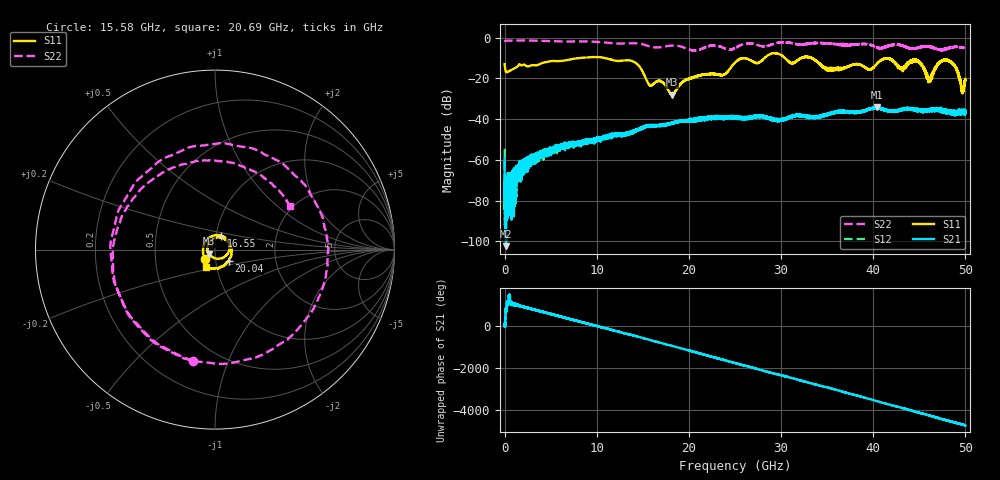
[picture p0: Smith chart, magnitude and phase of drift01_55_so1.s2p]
!Created with skrf (http://scikit-rf.org).
# Hz S RI R 50.0
!freq ReS11 ImS11 ReS21 ImS21 ReS12 ImS12 ReS22 ImS22
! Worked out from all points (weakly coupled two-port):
!   10001 points, 300 kHz to 50 GHz, reference 50 ohm
!   highest |S21| = -34.03 dB at 40.41 GHz (marker M1); lowest = -102.3 dB at 160.3 MHz (marker M2)
!   lowest |S11| = -27.9 dB at 18.14 GHz (marker M3), VSWR 1.08, Z = 46.8 - j2.13 ohm
!   |S11| at or under -10 dB: start of sweep to 8.043 GHz; 10.91 GHz to 25.9 GHz (14.99 GHz wide, 81.5 % of centre); 33.32 GHz to end of sweep (the widest 3 of 13)
!   |S22| runs from -6.4 to -1.4 dB; largest |S21 - S12| = 0.0042
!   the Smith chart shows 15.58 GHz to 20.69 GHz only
!   S11 on the Smith chart (normalised r, x): 15.58 GHz: 0.89, -0.09; 16.55 GHz: 1.06, +0.17; 20.04 GHz: 1.15, -0.15; 20.69 GHz: 0.89, -0.18
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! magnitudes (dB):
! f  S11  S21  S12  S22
! 300 kHz  -13.1  -59.4  -54.6  -2.1
! 160.3 MHz  -16.8  -102.3  -72.2  -1.4
! 3.08 GHz  -13.4  -57.6  -58.3  -1.4
! 8.335 GHz  -9.9  -50.8  -51.4  -1.8
! 13.88 GHz  -11.5  -46.5  -46.8  -2.7
! 15.58 GHz  -22.5  -43.4  -43.4  -4.0
! 16.55 GHz  -21.4  -43.1  -43.5  -4.7
! 16.67 GHz  -21.2  -43.1  -43.4  -4.8
! 18.14 GHz  -27.9  -42.1  -41.8  -3.9
! 20.04 GHz  -20.0  -40.7  -40.8  -5.9
! 20.69 GHz  -19.2  -40.1  -40.5  -6.3
! 25 GHz  -12.2  -39.3  -39.1  -5.1
! 33.34 GHz  -10.1  -38.6  -39.1  -2.7
! 35.23 GHz  -15.4  -37.5  -37.3  -3.0
! 40.41 GHz  -12.8  -34.0  -34.5  -4.8
! 41.67 GHz  -10.2  -35.8  -36.2  -4.1
! 43.07 GHz  -15.7  -35.0  -35.3  -3.6
! 44.8 GHz  -11.2  -35.3  -35.6  -4.9
! 46.11 GHz  -20.7  -35.3  -35.4  -4.4
! 48.04 GHz  -11.3  -36.2  -37.0  -5.2
! 49.64 GHz  -24.8  -36.5  -36.5  -4.8
! 50 GHz  -20.9  -37.0  -36.5  -5.3
